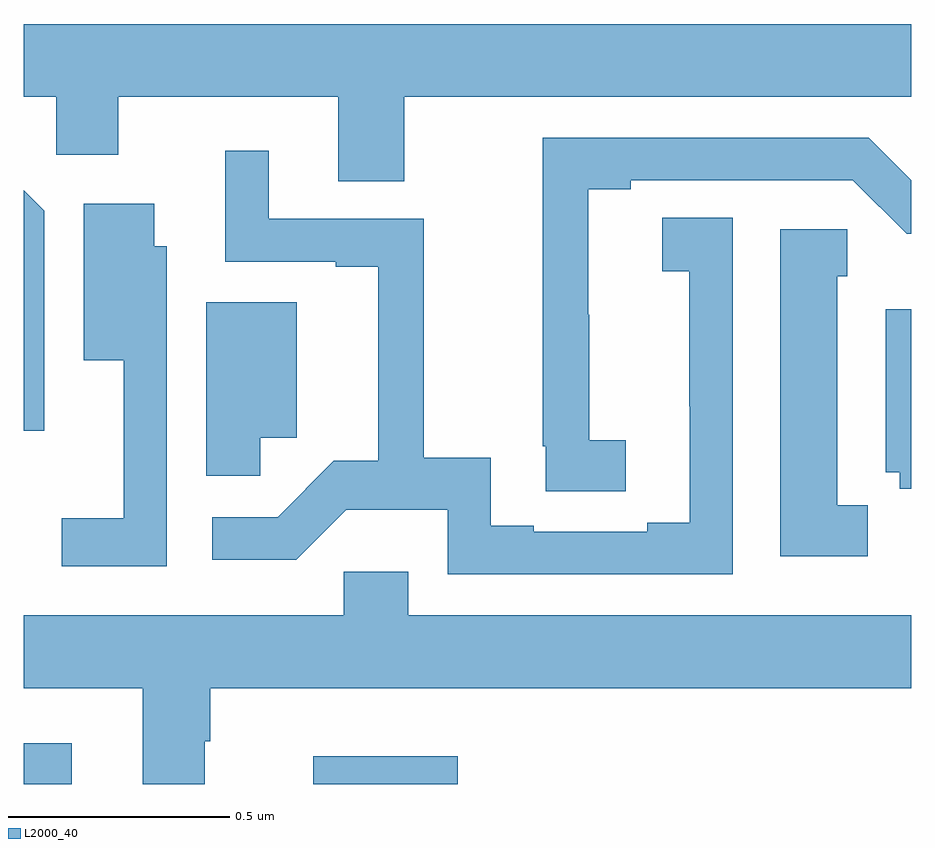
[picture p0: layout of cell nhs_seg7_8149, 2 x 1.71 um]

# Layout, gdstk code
import gdstk
lib = gdstk.Library(unit=1e-6, precision=1e-09)
def R(c, l, rs):  # rectangles x0, y0, x1, y1
    for r in rs: c.add(gdstk.rectangle(r[:2], r[2:], *l))
def P(c, l, *ps):  # polygons
    for p in ps: c.add(gdstk.Polygon(p, *l))
L2000_40 = (2000, 40)

nhs_seg7_8149 = lib.new_cell('nhs_seg7_8149')
R(nhs_seg7_8149, L2000_40, [(220,1067,220.108,1067.092), (220.653,1067,220.978,1067.062)])
P(nhs_seg7_8149, L2000_40, [(220.857,1068.548),(222,1068.548),(222,1068.712),(220,1068.712),(220,1068.548),(220.074,1068.548),(220.074,1068.417),(220.213,1068.417),(220.213,1068.548),(220.709,1068.548),(220.709,1068.358),(220.857,1068.358)],
  [(221.356,1067.774),(221.274,1067.774),(221.274,1068.057),(221.272,1068.057),(221.272,1068.34),(221.368,1068.34),(221.368,1068.36),(221.868,1068.36),(221.989,1068.239),(222,1068.239),(222,1068.36),(221.904,1068.456),(221.17,1068.456),(221.17,1067.761),(221.176,1067.761),(221.176,1067.659),(221.356,1067.659)],
  [(221.598,1068.275),(221.439,1068.275),(221.439,1068.155),(221.5,1068.155),(221.5,1067.851),(221.501,1067.851),(221.501,1067.588),(221.405,1067.588),(221.405,1067.568),(221.149,1067.568),(221.149,1067.582),(221.052,1067.582),(221.052,1067.735),(220.901,1067.735),(220.901,1068.273),(220.552,1068.273),(220.552,1068.427),(220.454,1068.427),(220.454,1068.177),(220.703,1068.177),(220.703,1068.165),(220.799,1068.165),(220.799,1067.728),(220.699,1067.728),(220.572,1067.601),(220.425,1067.601),(220.425,1067.505),(220.614,1067.505),(220.727,1067.618),(220.956,1067.618),(220.956,1067.472),(221.598,1067.472)],
  [(220.047,1068.291),(220,1068.338),(220,1067.796),(220.047,1067.796)],
  [(220.323,1068.211),(220.294,1068.211),(220.294,1068.307),(220.136,1068.307),(220.136,1067.954),(220.226,1067.954),(220.226,1067.599),(220.086,1067.599),(220.086,1067.49),(220.323,1067.49)],
  [(221.902,1067.628),(221.833,1067.628),(221.833,1068.144),(221.855,1068.144),(221.855,1068.25),(221.705,1068.25),(221.705,1067.513),(221.902,1067.513)],
  [(220.533,1067.78),(220.615,1067.78),(220.615,1068.085),(220.412,1068.085),(220.412,1067.694),(220.533,1067.694)],
  [(222,1068.07),(221.942,1068.07),(221.942,1067.702),(221.974,1067.702),(221.974,1067.665),(222,1067.665)],
  [(220.408,1067.096),(220.421,1067.096),(220.421,1067.216),(222,1067.216),(222,1067.38),(220.867,1067.38),(220.867,1067.478),(220.721,1067.478),(220.721,1067.38),(220,1067.38),(220,1067.216),(220.268,1067.216),(220.268,1067),(220.408,1067)])

lib.write_gds('nhs_seg7_8149.gds')
